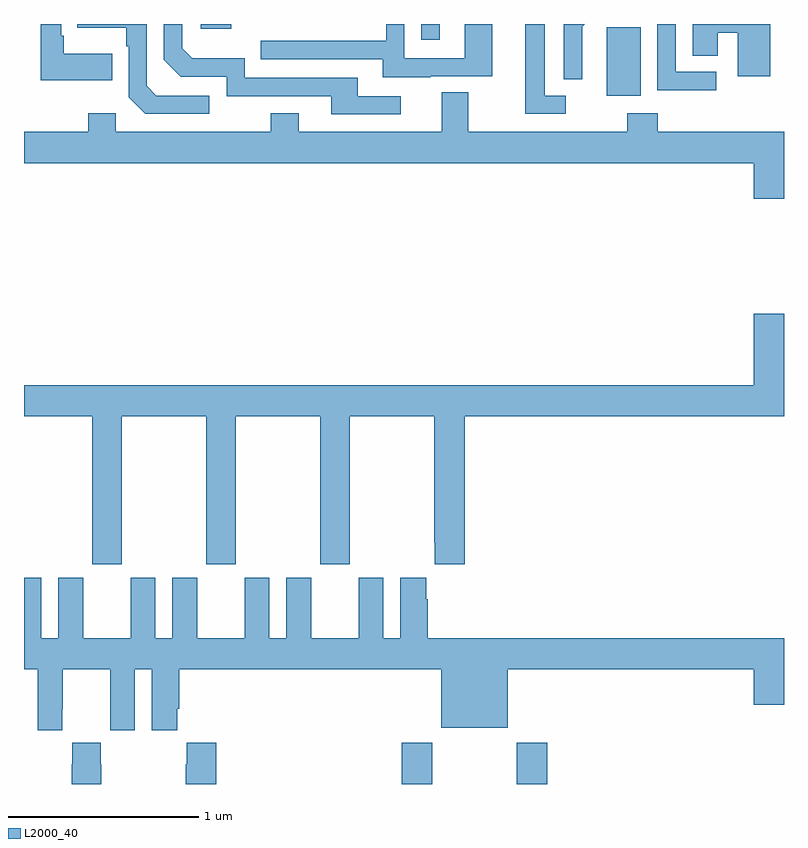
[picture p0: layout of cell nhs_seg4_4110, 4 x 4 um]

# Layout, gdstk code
import gdstk
lib = gdstk.Library(unit=1e-6, precision=1e-09)
def R(c, l, rs):  # rectangles x0, y0, x1, y1
    for r in rs: c.add(gdstk.rectangle(r[:2], r[2:], *l))
def P(c, l, *ps):  # polygons
    for p in ps: c.add(gdstk.Polygon(p, *l))
L2000_40 = (2000, 40)

nhs_seg4_4110 = lib.new_cell('nhs_seg4_4110')
R(nhs_seg4_4110, L2000_40, [(330.989,778.9,331.149,779.116), (331.594,778.9,331.754,779.116), (332.066,782.522,332.245,782.883), (331.092,782.817,331.189,782.9), (329.931,782.876,330.092,782.9)])
P(nhs_seg4_4110, L2000_40, [(330.982,782.52),(330.757,782.52),(330.757,782.616),(330.162,782.616),(330.162,782.719),(329.885,782.719),(329.832,782.772),(329.832,782.9),(329.736,782.9),(329.736,782.712),(329.826,782.622),(330.066,782.622),(330.066,782.52),(330.617,782.52),(330.617,782.424),(330.982,782.424)],
  [(332.927,782.9),(332.519,782.9),(332.519,782.734),(332.65,782.734),(332.65,782.855),(332.756,782.855),(332.756,782.625),(332.927,782.625)],
  [(331.938,782.762),(331.937,782.762),(331.937,782.885),(331.952,782.9),(331.842,782.9),(331.842,782.608),(331.938,782.608)],
  [(331.141,782.625),(331.465,782.625),(331.465,782.9),(331.32,782.9),(331.32,782.721),(331.002,782.721),(331.002,782.9),(330.906,782.9),(330.906,782.811),(330.247,782.811),(330.247,782.715),(330.887,782.715),(330.887,782.621),(331.141,782.621)],
  [(329.974,782.523),(329.697,782.523),(329.646,782.574),(329.646,782.9),(329.281,782.9),(329.281,782.879),(329.538,782.879),(329.538,782.783),(329.55,782.783),(329.55,782.514),(329.637,782.427),(329.974,782.427)],
  [(331.852,782.523),(331.741,782.523),(331.741,782.9),(331.637,782.9),(331.637,782.427),(331.852,782.427)],
  [(329.465,782.743),(329.209,782.743),(329.209,782.839),(329.196,782.839),(329.196,782.9),(329.088,782.9),(329.088,782.603),(329.465,782.603)],
  [(332.644,782.649),(332.43,782.649),(332.43,782.9),(332.334,782.9),(332.334,782.551),(332.644,782.551)],
  [(332.84,781.98),(333,781.98),(333,782.332),(332.336,782.332),(332.336,782.431),(332.176,782.431),(332.176,782.332),(331.339,782.332),(331.339,782.54),(331.199,782.54),(331.199,782.332),(330.445,782.332),(330.445,782.431),(330.298,782.431),(330.298,782.332),(329.484,782.332),(329.484,782.431),(329.338,782.431),(329.338,782.332),(329,782.332),(329,782.168),(332.84,782.168)],
  [(329.514,780.836),(329.959,780.836),(329.959,780.057),(330.114,780.057),(330.114,780.836),(330.559,780.836),(330.559,780.057),(330.714,780.057),(330.714,780.836),(331.159,780.836),(331.159,780.169),(331.163,780.169),(331.163,780.057),(331.319,780.057),(331.319,780.836),(333,780.836),(333,781.375),(332.84,781.375),(332.84,781),(329,781),(329,780.836),(329.359,780.836),(329.359,780.057),(329.514,780.057)],
  [(329.202,779.296),(329.203,779.296),(329.203,779.504),(329.453,779.504),(329.453,779.296),(329.454,779.296),(329.454,779.184),(329.584,779.184),(329.584,779.504),(329.672,779.504),(329.672,779.184),(329.806,779.184),(329.806,779.296),(329.816,779.296),(329.816,779.504),(331.196,779.504),(331.196,779.195),(331.546,779.195),(331.546,779.504),(332.84,779.504),(332.84,779.316),(333,779.316),(333,779.668),(331.124,779.668),(331.124,779.873),(331.117,779.873),(331.117,779.986),(330.98,779.986),(330.98,779.668),(330.892,779.668),(330.892,779.986),(330.761,779.986),(330.761,779.668),(330.511,779.668),(330.511,779.986),(330.38,779.986),(330.38,779.668),(330.292,779.668),(330.292,779.986),(330.161,779.986),(330.161,779.668),(329.911,779.668),(329.911,779.986),(329.78,779.986),(329.78,779.668),(329.692,779.668),(329.692,779.986),(329.561,779.986),(329.561,779.668),(329.311,779.668),(329.311,779.986),(329.18,779.986),(329.18,779.668),(329.092,779.668),(329.092,779.986),(329,779.986),(329,779.504),(329.072,779.504),(329.072,779.184),(329.202,779.184)],
  [(329.406,779.003),(329.403,779.003),(329.403,779.116),(329.253,779.116),(329.253,779.003),(329.251,779.003),(329.251,778.9),(329.406,778.9)],
  [(330.011,779.116),(329.857,779.116),(329.857,779.003),(329.851,779.003),(329.851,778.9),(330.011,778.9)])

lib.write_gds('nhs_seg4_4110.gds')
